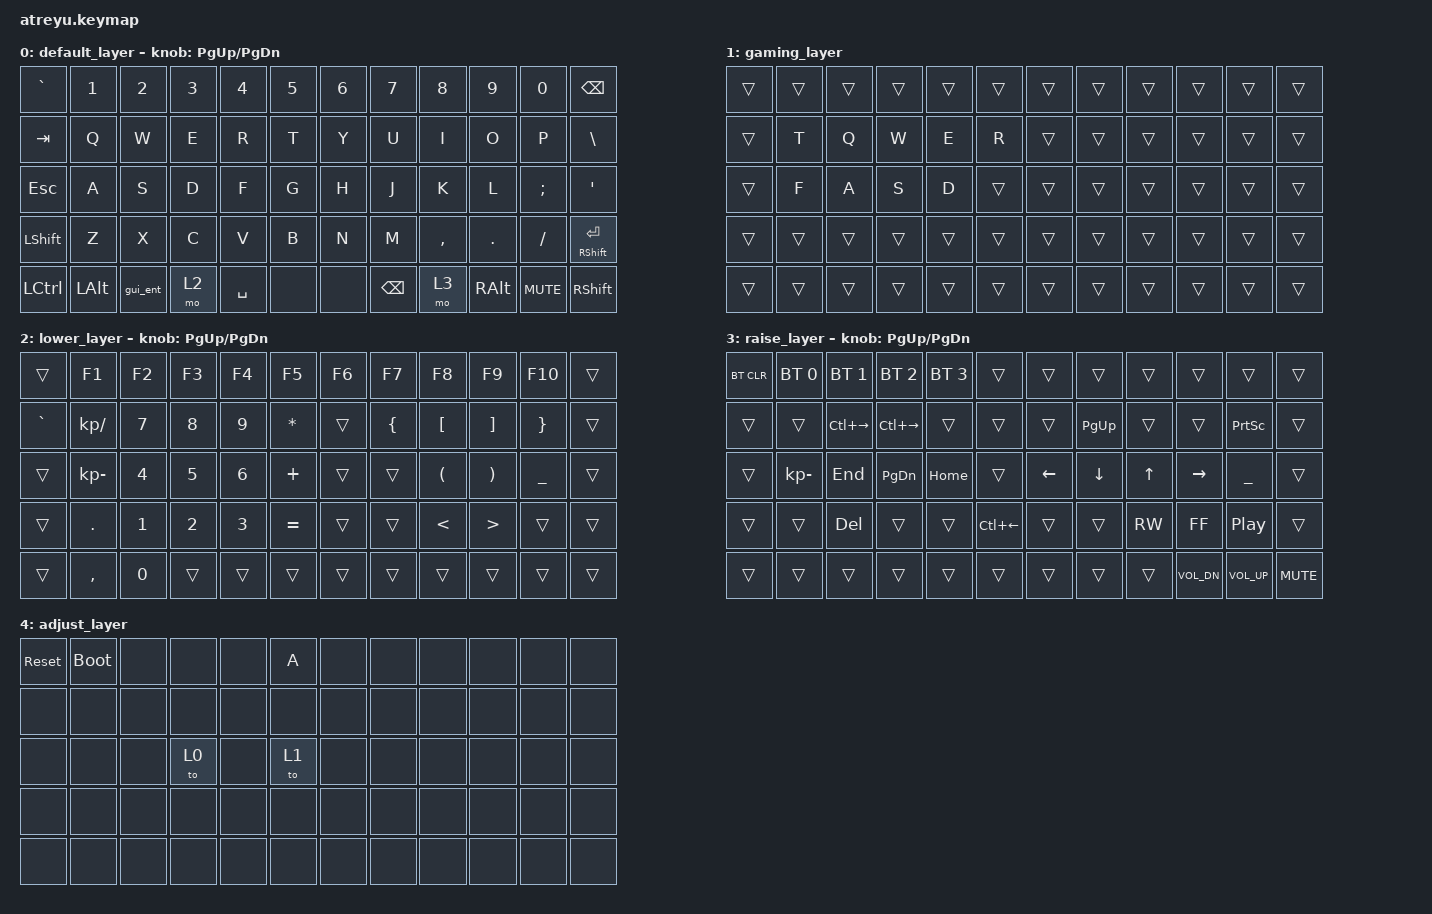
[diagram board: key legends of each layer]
/*
 * Copyright (c) 2020 The ZMK Contributors
 *
 * SPDX-License-Identifier: MIT
 */

#include <behaviors.dtsi>
#include <dt-bindings/zmk/keys.h>
#include <dt-bindings/zmk/bt.h>

/ {
  behaviors {
    gui_ent: gui_ent {
      compatible = "zmk,behavior-tap-dance";
      label = "GUI_ENTER";
      #binding-cells = <0>;
      tapping-term-ms = <200>;
      bindings = <&kp LGUI>, <&kp RET>;
    };
  };

  keymap {
    compatible = "zmk,keymap";

    // Layer 0: Default (base typing layer)
    default_layer {
      bindings = <
        &kp GRAVE  &kp N1    &kp N2    &kp N3   &kp N4     &kp N5    &kp N6  &kp N7    &kp N8     &kp N9    &kp N0      &kp BSPC
        &kp TAB    &kp Q     &kp W     &kp E    &kp R      &kp T     &kp Y   &kp U     &kp I      &kp O     &kp P       &kp BSLH
        &kp ESC    &kp A     &kp S     &kp D    &kp F      &kp G     &kp H   &kp J     &kp K      &kp L     &kp SEMI    &kp SQT
        &kp LSHFT  &kp Z     &kp X     &kp C    &kp V      &kp B     &kp N   &kp M     &kp COMMA  &kp DOT   &kp FSLH    &mt RSHFT RET
        &kp LCTRL  &kp LALT  &gui_ent  &mo 2    &kp SPACE  &none     &none   &kp BSPC  &mo 3      &kp RALT  &kp C_MUTE  &kp RSHFT
      >;
      sensor-bindings = <&inc_dec_kp PG_UP PG_DN>;
    };

    // Layer 1: Gaming (persistent via &to)
    gaming_layer {
      bindings = <
        &trans   &trans  &trans  &trans  &trans  &trans  &trans  &trans  &trans  &trans  &trans  &trans
        &trans   &kp T   &kp Q   &kp W   &kp E   &kp R   &trans  &trans  &trans  &trans  &trans  &trans
        &trans   &kp F   &kp A   &kp S   &kp D   &trans  &trans  &trans  &trans  &trans  &trans  &trans
        &trans   &trans  &trans  &trans  &trans  &trans  &trans  &trans  &trans  &trans  &trans  &trans
        &trans   &trans  &trans  &trans  &trans  &trans  &trans  &trans  &trans  &trans  &trans  &trans
      >;
    };

    // Layer 2: Lower (momentary)
    lower_layer {
      bindings = <
        &trans     &kp F1        &kp F2  &kp F3  &kp F4  &kp F5     &kp F6  &kp F7    &kp F8    &kp F9    &kp F10    &trans
        &kp GRAVE  &kp KP_SLASH  &kp N7  &kp N8  &kp N9  &kp STAR   &trans  &kp LBRC  &kp LBKT  &kp RBKT  &kp RBRC   &trans
        &trans     &kp KP_MINUS  &kp N4  &kp N5  &kp N6  &kp PLUS   &trans  &trans    &kp LPAR  &kp RPAR  &kp UNDER  &trans
        &trans     &kp DOT       &kp N1  &kp N2  &kp N3  &kp EQUAL  &trans  &trans    &kp LT    &kp GT    &trans     &trans
        &trans     &kp COMMA     &kp N0  &trans  &trans  &trans     &trans  &trans    &trans    &trans    &trans     &trans
      >;
      sensor-bindings = <&inc_dec_kp PG_UP PG_DN>;
    };

    // Layer 3: Raise (momentary)
    raise_layer {
      bindings = <
        &bt BT_CLR  &bt BT_SEL 0  &bt BT_SEL 1   &bt BT_SEL 2   &bt BT_SEL 3  &trans        &trans    &trans     &trans    &trans        &trans        &trans
        &trans      &trans        &kp LC(RIGHT)  &kp LC(RIGHT)  &trans        &trans        &trans    &kp PG_UP  &trans    &trans        &kp PSCRN     &trans
        &trans      &kp KP_MINUS  &kp END        &kp PG_DN      &kp HOME      &trans        &kp LEFT  &kp DOWN   &kp UP    &kp RIGHT     &kp UNDER     &trans
        &trans      &trans        &kp DEL        &trans         &trans        &kp LC(LEFT)  &trans    &trans     &kp C_RW  &kp C_FF      &kp C_PP      &trans
        &trans      &trans        &trans         &trans         &trans        &trans        &trans    &trans     &trans    &kp C_VOL_DN  &kp C_VOL_UP  &kp C_MUTE
      >;
      sensor-bindings = <&inc_dec_kp PG_UP PG_DN>;
    };

    // Layer 4: Adjust (momentary via Lower+Raise combo)
    adjust_layer {
      bindings = <
        &sys_reset &bootloader &none   &none   &none   &kp A   &none   &none   &none   &none   &none   &none
        &none      &none       &none   &none   &none   &none   &none   &none   &none   &none   &none   &none
        &none      &none       &none   &to 0   &none   &to 1   &none   &none   &none   &none   &none   &none
        &none      &none       &none   &none   &none   &none   &none   &none   &none   &none   &none   &none
        &none      &none       &none   &none   &none   &none   &none   &none   &none   &none   &none   &none
      >;
      /*
        Adjust layer keys:
        - G position → &to 1 → activate Gaming layer
        - D position → &to 0 → return to Default layer
      */
    };
  };

  combos {
    compatible = "zmk,combos";

    // Lower (layer 2) + Raise (layer 3) = Adjust (layer 4)
    combo_adjust {
      timeout-ms = <50>;
      key-positions = <51 56>;   // Lower (&mo 2) and Raise (&mo 3)
      bindings = <&mo 4>;        // Activate adjust_layer momentarily
    };

    // Both shifts toggle CapsLock
    combo_capslock {
        timeout-ms = <50>;         // max delay between keys
        key-positions = <36 59>;   // LSHFT and RSHFT
        bindings = <&kp CAPS>;     // CapsLock
    };
  };
};
